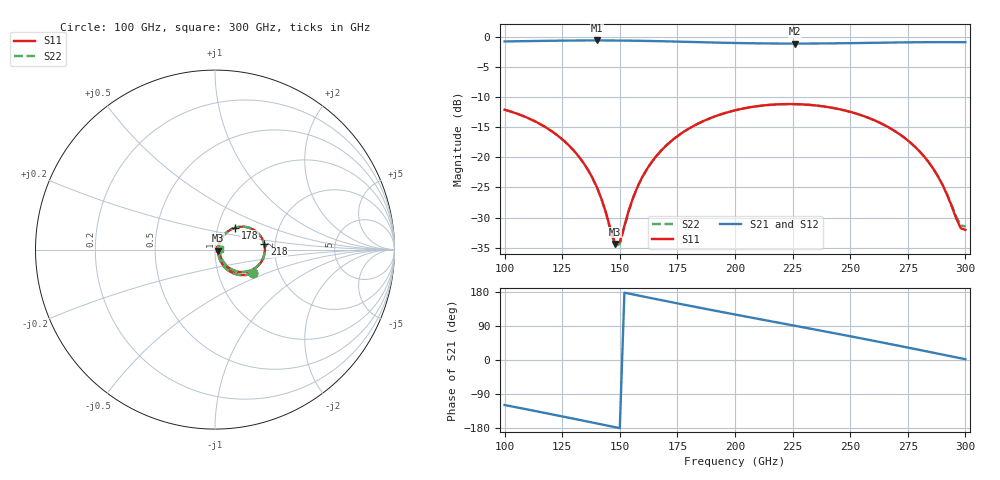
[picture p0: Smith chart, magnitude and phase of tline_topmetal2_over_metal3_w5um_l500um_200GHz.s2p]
#  GHZ S DB R 50
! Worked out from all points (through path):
!   101 points, 100 GHz to 300 GHz, reference 50 ohm
!   highest |S21| = -0.53 dB at 140 GHz (marker M1); lowest = -1.1 dB at 226 GHz (marker M2)
!   group delay of S21, straight-line fit = 3.3 ps
!   lowest |S11| = -34.4 dB at 148 GHz (marker M3), VSWR 1.04, Z = 51.9 - j0.539 ohm
!   |S11| at or under -10 dB: start of sweep to end of sweep
!   |S22| runs from -34.8 to -11.1 dB; largest |S21 - S12| = 1.6e-13
!   S11 on the Smith chart (normalised r, x): 100 GHz: 1.47, -0.41; 178 GHz: 1.21, +0.30; 218 GHz: 1.75, +0.12; 300 GHz: 1.05, +0.01
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100  -12.06 -31.3  -0.70 -118.8  -0.70 -118.8  -12.06 -31.5
120  -15.52 -52.0  -0.59 -142.8  -0.59 -142.8  -15.52 -52.2
134  -20.77 -63.0  -0.54 -160.0  -0.54 -160.0  -20.79 -63.5
140  -24.91 -62.8  -0.53 -167.4  -0.53 -167.4  -24.94 -63.6
144  -29.20 -54.3  -0.54 -172.4  -0.54 -172.4  -29.30 -55.5
148  -34.39 -15.8  -0.55 -177.3  -0.55 -177.3  -34.77 -16.6
150  -34.01 18.4  -0.55 -179.8  -0.55 -179.8  -34.38 19.2
154  -28.69 51.5  -0.57 175.2  -0.57 175.2  -28.80 52.7
158  -24.62 58.7  -0.59 170.3  -0.59 170.3  -24.67 59.5
168  -18.84 56.1  -0.66 158.0  -0.66 158.0  -18.86 56.5
178  -15.67 47.5  -0.76 145.9  -0.76 145.9  -15.68 47.9
200  -12.16 25.3  -0.96 120.1  -0.96 120.1  -12.17 25.5
218  -11.17 6.3  -1.04 99.5  -1.04 99.5  -11.18 6.6
226  -11.13 -2.1  -1.05 90.4  -1.05 90.4  -11.14 -1.9
234  -11.31 -10.5  -1.04 81.2  -1.04 81.2  -11.32 -10.3
250  -12.41 -27.2  -0.98 62.7  -0.98 62.7  -12.42 -26.9
268  -15.28 -45.2  -0.88 41.3  -0.88 41.3  -15.30 -44.7
276  -17.49 -52.0  -0.85 31.6  -0.85 31.6  -17.50 -51.3
284  -20.76 -56.3  -0.82 21.8  -0.82 21.8  -20.76 -55.3
290  -24.51 -54.5  -0.81 14.4  -0.81 14.4  -24.47 -53.0
298  -31.80 -15.2  -0.82 4.5  -0.82 4.5  -31.32 -13.4
300  -32.05 9.1  -0.83 2.0  -0.83 2.0  -31.49 9.4
